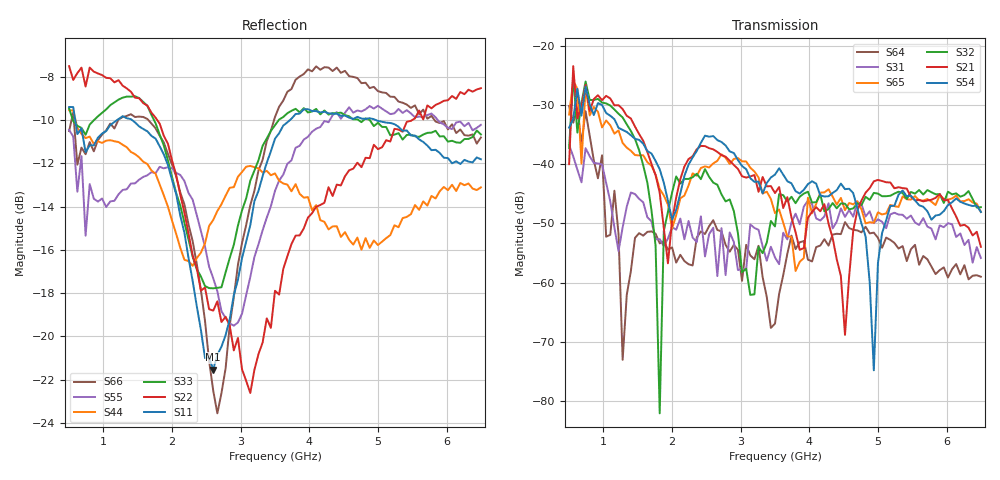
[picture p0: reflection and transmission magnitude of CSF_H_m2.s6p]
!Keysight Technologies,M9804A,MY58100912,A.14.10.03
!Date: Thursday, April 27, 2023 10:28:33
!Correction: S11(C  6-Port  )
!S12(C  6-Port  )
!S13(C  6-Port  )
!S14(C  6-Port  )
!S15(C  6-Port  )
!S16(C  6-Port  )
!S21(C  6-Port  )
!S22(C  6-Port  )
!S23(C  6-Port  )
!S24(C  6-Port  )
!S25(C  6-Port  )
!S26(C  6-Port  )
!S31(C  6-Port  )
!S32(C  6-Port  )
!S33(C  6-Port  )
!S34(C  6-Port  )
!S35(C  6-Port  )
!S36(C  6-Port  )
!S41(C  6-Port  )
!S42(C  6-Port  )
!S43(C  6-Port  )
!S44(C  6-Port  )
!S45(C  6-Port  )
!S46(C  6-Port  )
!S51(C  6-Port  )
!S52(C  6-Port  )
!S53(C  6-Port  )
!S54(C  6-Port  )
!S55(C  6-Port  )
!S56(C  6-Port  )
!S61(C  6-Port  )
!S62(C  6-Port  )
!S63(C  6-Port  )
!S64(C  6-Port  )
!S65(C  6-Port  )
!S66(C  6-Port  )
!S6P File: Measurement: :
# Hz S  RI  R 50
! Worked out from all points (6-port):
!   101 points, 500 MHz to 6.5 GHz, reference 50 ohm
!   strongest paths, dB at 500 MHz, 2 GHz, 3.5 GHz, 5 GHz, 6.5 GHz:
!     S54: -33.8, -49.3, -41.7, -56.7, -48.1
!     S21: -40.0, -49.6, -44.9, -42.6, -53.9
!     S32: -37.2, -44.8, -50.5, -45.0, -47.2
!     S65: -31.6, -50.9, -48.3, -48.1, -48.0
!     S31: -36.7, -50.6, -55.8, -49.3, -55.8
!     S64: -30.1, -54.0, -66.9, -52.4, -59.0
!   lowest |S11| = -21.5 dB at 2.6 GHz (marker M1), VSWR 1.18, Z = 42.5 + j2.14 ohm
!   |S11| at or under -10 dB: 589.3 MHz to 1.197 GHz (607.5 MHz wide, 68 % of centre); 1.42 GHz to 3.715 GHz (2.295 GHz wide, 89.4 % of centre); 4.975 GHz to end of sweep
